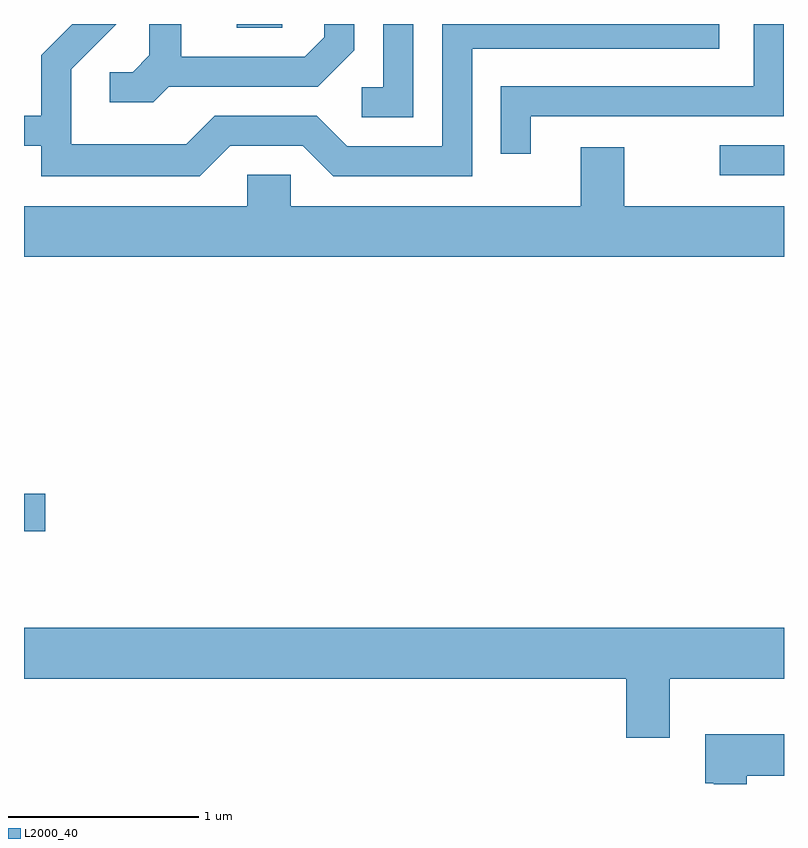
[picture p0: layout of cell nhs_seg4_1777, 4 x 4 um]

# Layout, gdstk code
import gdstk
lib = gdstk.Library(unit=1e-6, precision=1e-09)
def R(c, l, rs):  # rectangles x0, y0, x1, y1
    for r in rs: c.add(gdstk.rectangle(r[:2], r[2:], *l))
def P(c, l, *ps):  # polygons
    for p in ps: c.add(gdstk.Polygon(p, *l))
L2000_40 = (2000, 40)

nhs_seg4_1777 = lib.new_cell('nhs_seg4_1777')
R(nhs_seg4_1777, L2000_40, [(237.611,1273.311,237.724,1273.509), (241.273,1275.186,241.611,1275.344), (238.731,1275.961,238.969,1275.982)])
P(nhs_seg4_1777, L2000_40, [(238.697,1275.341),(239.079,1275.341),(239.239,1275.181),(239.969,1275.181),(239.969,1275.851),(241.269,1275.851),(241.269,1275.982),(239.811,1275.982),(239.811,1275.339),(239.312,1275.339),(239.152,1275.499),(238.614,1275.499),(238.464,1275.349),(237.859,1275.349),(237.859,1275.744),(238.097,1275.982),(237.866,1275.982),(237.701,1275.817),(237.701,1275.499),(237.611,1275.499),(237.611,1275.341),(237.701,1275.341),(237.701,1275.181),(238.537,1275.181)],
  [(240.279,1275.496),(241.609,1275.496),(241.609,1275.982),(241.451,1275.982),(241.451,1275.654),(240.121,1275.654),(240.121,1275.298),(240.279,1275.298)],
  [(239.659,1275.982),(239.501,1275.982),(239.501,1275.649),(239.388,1275.649),(239.388,1275.491),(239.659,1275.491)],
  [(238.372,1275.651),(239.157,1275.651),(239.349,1275.844),(239.349,1275.982),(239.191,1275.982),(239.191,1275.912),(239.089,1275.809),(238.439,1275.809),(238.439,1275.982),(238.271,1275.982),(238.271,1275.817),(238.184,1275.729),(238.063,1275.729),(238.063,1275.571),(238.292,1275.571)],
  [(241.611,1275.024),(240.769,1275.024),(240.769,1275.334),(240.541,1275.334),(240.541,1275.024),(239.014,1275.024),(239.014,1275.189),(238.786,1275.189),(238.786,1275.024),(237.611,1275.024),(237.611,1274.756),(241.611,1274.756)],
  [(241.009,1272.536),(241.611,1272.536),(241.611,1272.804),(237.611,1272.804),(237.611,1272.536),(240.781,1272.536),(240.781,1272.226),(241.009,1272.226)],
  [(241.414,1272.026),(241.611,1272.026),(241.611,1272.244),(241.196,1272.244),(241.196,1271.986),(241.241,1271.986),(241.241,1271.982),(241.414,1271.982)])

lib.write_gds('nhs_seg4_1777.gds')
